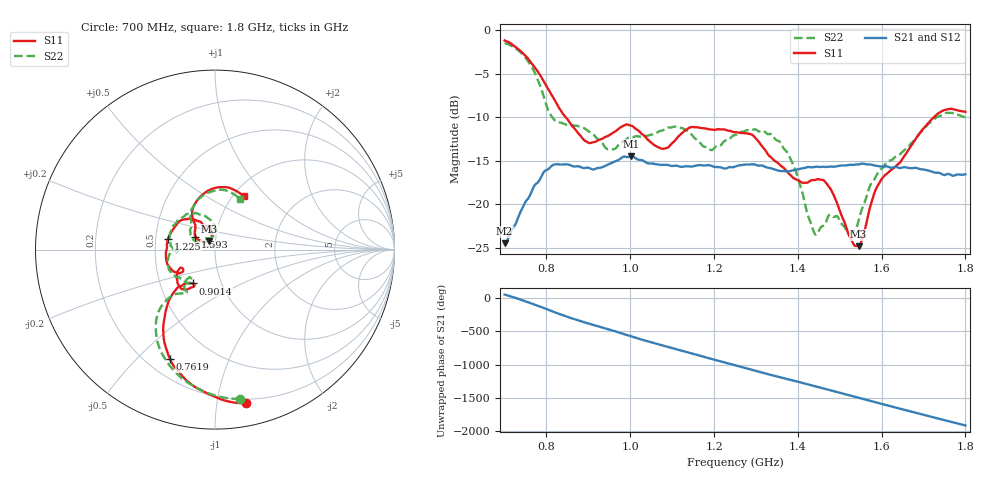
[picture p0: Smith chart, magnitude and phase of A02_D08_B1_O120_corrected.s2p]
! Created with skrf 1.9.0 (http://scikit-rf.org).
# Hz S RI R 50.0
!freq ReS11 ImS11 ReS21 ImS21 ReS12 ImS12 ReS22 ImS22
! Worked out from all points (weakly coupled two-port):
!   1601 points, 700 MHz to 1.8 GHz, reference 50 ohm
!   highest |S21| = -14.48 dB at 1.002 GHz (marker M1); lowest = -24.5 dB at 700 MHz (marker M2)
!   lowest |S11| = -24.8 dB at 1.545 GHz (marker M3), VSWR 1.12, Z = 46.7 + j4.44 ohm
!   |S11| at or under -10 dB: 846.1 MHz to 1.725 GHz (878.7 MHz wide, 68.4 % of centre)
!   |S22| runs from -23.5 to -1.5 dB; largest |S21 - S12| = 0.0038
!   S11 on the Smith chart (normalised r, x): 700 MHz: 0.17, -1.21; 761.9 MHz: 0.29, -0.63; 901.4 MHz: 0.73, -0.29; 1.225 GHz: 0.58, +0.07; 1.593 GHz: 0.80, +0.12; 1.8 GHz: 1.12, +0.76
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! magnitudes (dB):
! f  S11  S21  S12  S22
! 700 MHz  -1.2  -24.5  -24.2  -1.5
! 761.9 MHz  -3.6  -18.8  -18.8  -4.0
! 815.5 MHz  -7.7  -15.5  -15.6  -10.1
! 883.6 MHz  -12.3  -15.8  -15.7  -11.1
! 901.4 MHz  -13.0  -15.8  -15.8  -11.6
! 948.2 MHz  -12.1  -15.4  -15.4  -13.7
! 1.002 GHz  -11.0  -14.5  -14.6  -12.3
! 1.067 GHz  -13.5  -15.4  -15.4  -11.6
! 1.144 GHz  -11.1  -15.7  -15.7  -11.9
! 1.192 GHz  -11.4  -15.6  -15.6  -13.8
! 1.225 GHz  -11.4  -15.9  -15.9  -12.7
! 1.25 GHz  -11.7  -15.7  -15.6  -12.0
! 1.358 GHz  -15.5  -16.2  -16.1  -12.9
! 1.394 GHz  -17.1  -16.1  -16.0  -16.0
! 1.434 GHz  -17.2  -15.7  -15.7  -22.6
! 1.474 GHz  -18.0  -15.7  -15.7  -21.3
! 1.523 GHz  -23.6  -15.5  -15.5  -23.5
! 1.545 GHz  -24.8  -15.4  -15.4  -21.9
! 1.593 GHz  -17.7  -15.6  -15.6  -16.2
! 1.617 GHz  -16.3  -15.7  -15.7  -15.0
! 1.733 GHz  -9.6  -16.4  -16.4  -9.9
! 1.8 GHz  -9.4  -16.6  -16.6  -10.0
